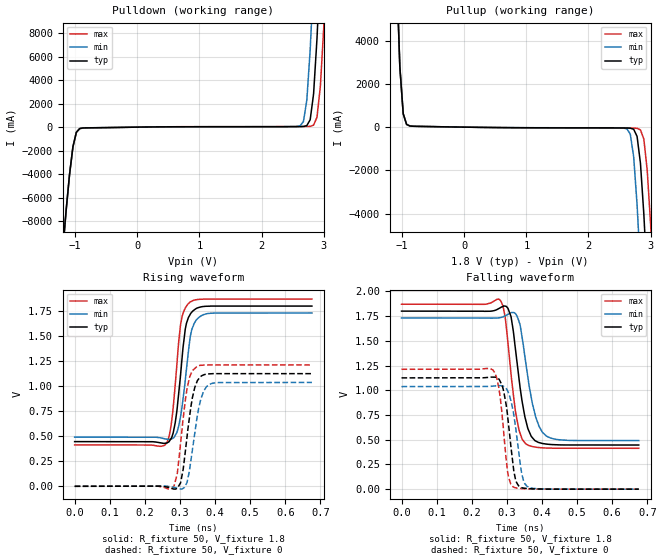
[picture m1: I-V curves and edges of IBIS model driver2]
| IBIS file invchain_weak_tr20ps.ibs created by PYS2IBIS3
| Missouri S&T EMC Lab
[IBIS Ver] 7.1
[File Name] invchain_weak_tr20ps.ibs
[File Rev] 1.0
[Date] Jul 27, 2026
[Source] inv_chain variant 'weak' -- half drive at every stage
[Notes] Parameter selection; sim_time=6.756e-10, tr=tf=2.000e-11.
[Component] invchain
[Manufacturer] s2ibispy study
[Package]
| variable   typ   min   max
R_pkg 0 NA NA
L_pkg 0H NA NA
C_pkg 0F NA NA
[Pin]  signal_name   model_name   R_pin   L_pin   C_pin
VSSQ   VSSQ   Gnd
VCCQ   VCCQ   Power
| IN IN dummy
PAD   PAD   driver2
| End of Component
| Models and submodels in the file (1): driver2 (Output)
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[Model] driver2
Model_type Output
Polarity Non-Inverting
Enable Active-High
Vinl  = 0.8V
Vinh  = 2V
C_comp 0.4680pF NA NA
[Temperature Range] 27.0000 27.0000 27.0000
[Voltage Range] 1.8000V 1.7000V 1.9000V
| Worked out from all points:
|   slope of the pulldown table from 0 to 0.27 V, typ, clamps not added: 14.1 ohm
|   slope of the pullup table from 0 to 0.27 V, typ, clamps not added: 24.6 ohm
|   rising waveform, R_fixture 50, V_fixture 1.8: 20-80 % time 23.5ps typ, 25ps min, 21.9ps max; typ from 0.446 V to 1.8 V
|   rising waveform, R_fixture 50, V_fixture 0: 20-80 % time 25.2ps typ, 27.3ps min, 23.7ps max; typ from 0 V to 1.12 V
|   falling waveform, R_fixture 50, V_fixture 1.8: 20-80 % time 31.6ps typ, 35.5ps min, 28.3ps max; typ from 1.8 V to 0.446 V
|   falling waveform, R_fixture 50, V_fixture 0: 20-80 % time 22.5ps typ, 24.5ps min, 20.5ps max; typ from 1.12 V to 0 V
[Pulldown]
| Voltage   I(typ)   I(min)   I(max)
-1.8V     -50.22A    -50.22A    -50.22A
-1.2V     -10.44A    -10.44A    -10.44A
-1.036V   -1.67A     -1.668A    -1.672A
-927.3mV  -121.6mA   -118.9mA   -124mA
2.618V    48.73mA    103.1mA    49.35mA
2.727V    131.8mA    2.281A     54.59mA
2.782V    631.5mA    6.58A      69.15mA
2.836V    2.833A     12.65A     170.1mA
2.891V    7.503A     19.29A     839.8mA
2.946V    13.76A     25.94A     3.459A
3V        20.41A     32.59A     8.47A
3.6V      93.55A     105.7A     81.36A
[Pullup]
| Voltage   I(typ)   I(min)   I(max)
-1.8V     93.5A      93.5A      93.5A
-1.091V   7.473A     7.472A     7.473A
-981.8mV  621.2mA    620.4mA    621.9mA
-872.7mV  52.26mA    51.37mA    53.06mA
2.618V    -40.01mA   -79.32mA   -40.56mA
2.727V    -99.7mA    -1.375A    -44.4mA
2.782V    -427.1mA   -3.579A    -55.14mA
2.836V    -1.672A    -6.535A    -126.4mA
2.891V    -4.036A    -9.883A    -555.7mA
2.946V    -7.076A    -13.45A    -2.002A
3V        -10.47A    -17.07A    -4.511A
3.6V      -50.25A    -56.88A    -43.62A
[Ramp]
| variable   typ   min   max
dV/dt_r 0.6750/0.02523n 0.6222/0.02727n 0.7272/0.02366n
dV/dt_f 0.8123/0.03127n 0.7501/0.03417n 0.8728/0.02941n
R_load = 50
[Rising Waveform]
R_fixture = 50
V_fixture = 1.8
|time   V(typ)   V(min)   V(max)
0s        446.2mV    490.9mV    413.3mV
257.7ps   429.8mV    473.9mV    414.9mV
275.3ps   480.3mV    470.4mV    624.2mV
286.8ps   642.7mV    510.6mV    1.022V
296.2ps   925.9mV    599.5mV    1.439V
314.5ps   1.562V     1.04V      1.778V
328.7ps   1.718V     1.485V     1.84V
344.2ps   1.771V     1.651V     1.862V
376.7ps   1.798V     1.724V     1.87V
675.6ps   1.8V       1.731V     1.87V
[Rising Waveform]
R_fixture = 50
V_fixture = 0
|time   V(typ)   V(min)   V(max)
0s        17.4nV     16.96nV    17.93nV
278ps     -23.93mV   -6.295mV   -19.27mV
292.2ps   -20.57mV   -20.84mV   125.8mV
301.6ps   33.81mV    -28.08mV   425mV
319.9ps   490.2mV    35.95mV    971.4mV
334.1ps   864mV      332.7mV    1.143V
350.3ps   1.059V     724.7mV    1.202V
366.6ps   1.112V     945.4mV    1.211V
391.6ps   1.125V     1.028V     1.212V
675.6ps   1.125V     1.037V     1.212V
[Falling Waveform]
R_fixture = 50
V_fixture = 1.8
|time   V(typ)   V(min)   V(max)
0s        1.8V       1.731V     1.87V
282ps     1.836V     1.735V     1.907V
295.5ps   1.85V      1.753V     1.732V
311.8ps   1.746V     1.784V     1.164V
324.6ps   1.406V     1.774V     784.6mV
337.5ps   1.031V     1.664V     565.8mV
353.7ps   695.7mV    1.278V     457.9mV
380.1ps   490.3mV    752.3mV    425.4mV
412.5ps   455.6mV    536.4mV    415.7mV
675.6ps   446.2mV    490.9mV    413.3mV
[Falling Waveform]
R_fixture = 50
V_fixture = 0
|time   V(typ)   V(min)   V(max)
0s        1.125V     1.037V     1.212V
260.4ps   1.134V     1.041V     1.204V
277.3ps   1.113V     1.047V     1.022V
290.8ps   993.2mV    1.039V     581.2mV
303ps     719.7mV    987.3mV    156.8mV
318.5ps   209.5mV    774mV      21.8mV
327.3ps   70.22mV    558mV      11.72mV
341.5ps   15.14mV    169.3mV    6.021mV
357.1ps   6.76mV     29.33mV    2.808mV
675.6ps   109.2nV    86.91nV    93.54nV
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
